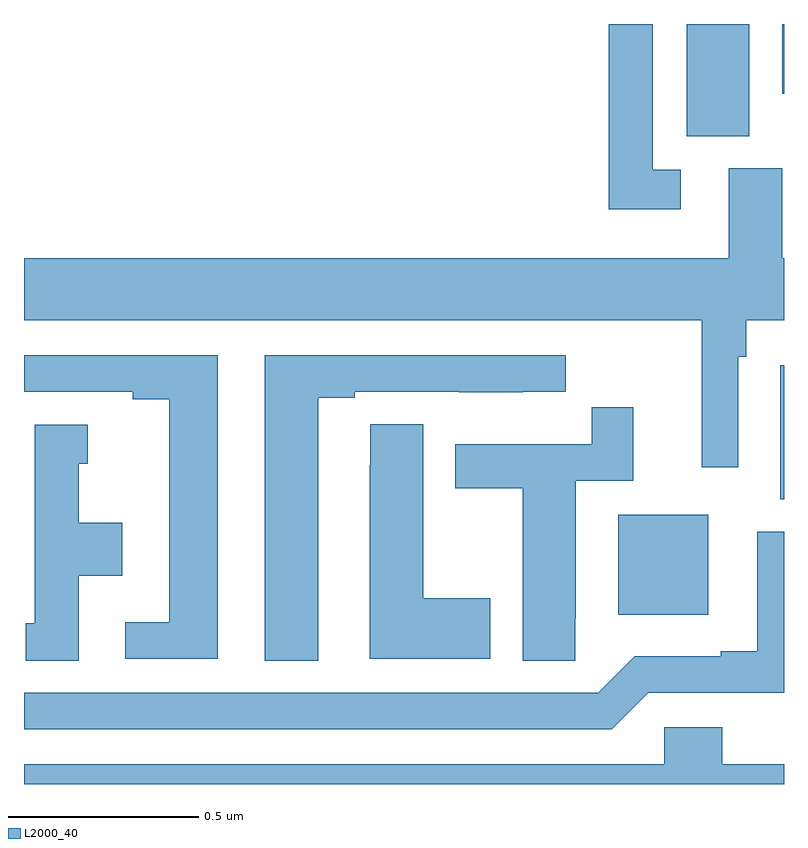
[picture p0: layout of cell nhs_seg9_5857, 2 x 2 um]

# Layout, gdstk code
import gdstk
lib = gdstk.Library(unit=1e-6, precision=1e-09)
def R(c, l, rs):  # rectangles x0, y0, x1, y1
    for r in rs: c.add(gdstk.rectangle(r[:2], r[2:], *l))
def P(c, l, *ps):  # polygons
    for p in ps: c.add(gdstk.Polygon(p, *l))
L2000_40 = (2000, 40)

nhs_seg9_5857 = lib.new_cell('nhs_seg9_5857')
R(nhs_seg9_5857, L2000_40, [(185.564,1228.946,185.8,1229.209), (185.99,1229.249,186,1229.602), (185.744,1230.205,185.908,1230.5), (185.996,1230.317,186,1230.5)])
P(nhs_seg9_5857, L2000_40, [(185.728,1230.117),(185.655,1230.117),(185.655,1230.5),(185.539,1230.5),(185.539,1230.012),(185.728,1230.012)],
  [(185.88,1229.624),(185.9,1229.624),(185.9,1229.72),(186,1229.72),(186,1229.884),(185.995,1229.884),(185.995,1230.12),(185.855,1230.12),(185.855,1229.884),(184,1229.884),(184,1229.72),(185.783,1229.72),(185.783,1229.334),(185.88,1229.334)],
  [(184.51,1229.628),(184,1229.628),(184,1229.532),(184.286,1229.532),(184.286,1229.512),(184.382,1229.512),(184.382,1228.926),(184.266,1228.926),(184.266,1228.83),(184.51,1228.83)],
  [(184.774,1229.517),(184.87,1229.517),(184.87,1229.532),(185.146,1229.532),(185.146,1229.531),(185.312,1229.531),(185.312,1229.532),(185.425,1229.532),(185.425,1229.628),(184.634,1229.628),(184.634,1228.825),(184.774,1228.825)],
  [(185.451,1228.936),(185.452,1228.936),(185.452,1229.298),(185.603,1229.298),(185.603,1229.491),(185.494,1229.491),(185.494,1229.394),(185.135,1229.394),(185.135,1229.278),(185.312,1229.278),(185.312,1228.825),(185.451,1228.825)],
  [(185.227,1228.989),(185.05,1228.989),(185.05,1229.447),(184.911,1229.447),(184.911,1229.339),(184.91,1229.339),(184.91,1228.829),(185.227,1228.829)],
  [(184.144,1229.048),(184.258,1229.048),(184.258,1229.188),(184.144,1229.188),(184.144,1229.343),(184.168,1229.343),(184.168,1229.446),(184.028,1229.446),(184.028,1228.923),(184.004,1228.923),(184.004,1228.825),(184.144,1228.825)],
  [(185.643,1228.74),(186,1228.74),(186,1229.164),(185.93,1229.164),(185.93,1228.849),(185.834,1228.849),(185.834,1228.836),(185.607,1228.836),(185.511,1228.74),(184,1228.74),(184,1228.644),(185.547,1228.644)],
  [(186,1228.552),(185.837,1228.552),(185.837,1228.65),(185.685,1228.65),(185.685,1228.552),(184,1228.552),(184,1228.5),(186,1228.5)])

lib.write_gds('nhs_seg9_5857.gds')
